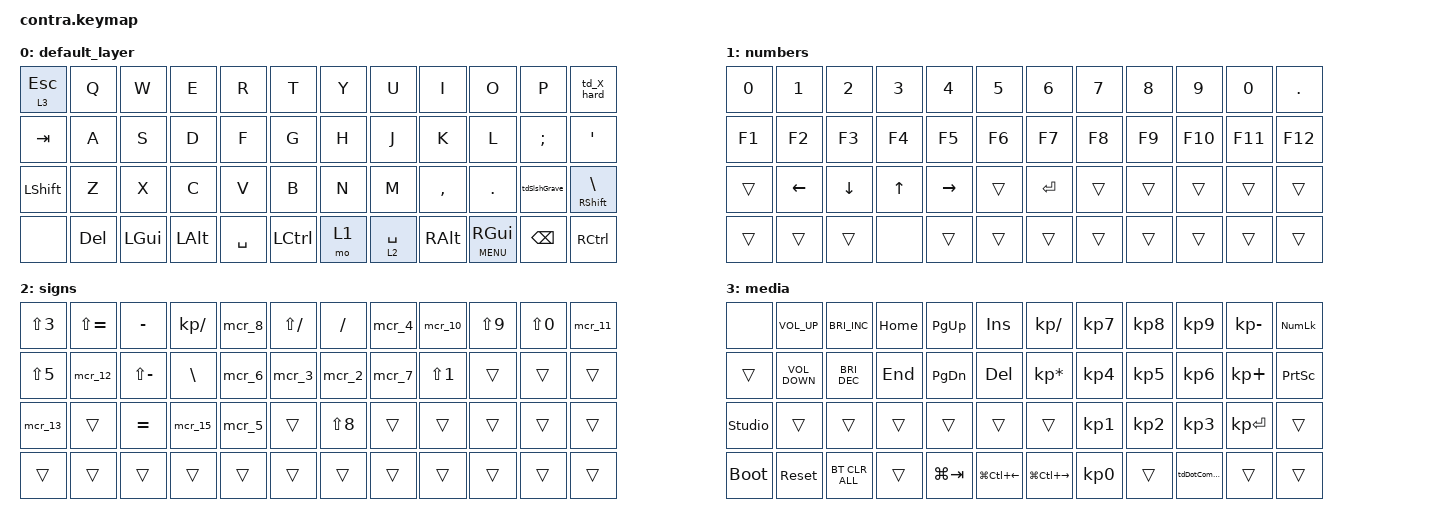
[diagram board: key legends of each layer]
/*
 * Copyright (c) 2021 The ZMK Contributors
 *
 * SPDX-License-Identifier: MIT
 */

#include <behaviors.dtsi>
#include <dt-bindings/zmk/bt.h>
#include <dt-bindings/zmk/keys.h>

#define DEFAULT	0
#define NMBRS	1
#define SIGNS	2
#define MEDIA	3

/ {
    macros {
        mcr_0: macros_0 {
            label = "MACROS_0";
            compatible = "zmk,behavior-macro";
            #binding-cells = <0>;
            bindings = <&macro_tap>, <&kp LC(N3)>, <&macro_tap>, <&kp FSLH>;
        };

        mcr_1: macros_1 {
            label = "MACROS_1";
            compatible = "zmk,behavior-macro";
            #binding-cells = <0>;
            bindings = <&macro_tap>, <&kp LC(N3)>, <&macro_tap>, <&kp LS(FSLH)>;
        };

        mcr_2: macros_2 {
            label = "MACROS_2";
            compatible = "zmk,behavior-macro";
            #binding-cells = <0>;
            bindings = <&macro_tap>, <&kp LC(N3)>, <&macro_tap>, <&kp LS(N6)>;
        };

        mcr_3: macros_3 {
            label = "MACROS_3";
            compatible = "zmk,behavior-macro";
            #binding-cells = <0>;
            bindings = <&macro_tap>, <&kp LC(N3)>, <&macro_tap>, <&kp LS(N4)>;
        };

        mcr_4: macros_4 {
            label = "MACROS_4";
            compatible = "zmk,behavior-macro";
            #binding-cells = <0>;
            bindings = <&macro_tap>, <&kp LC(N1)>, <&macro_tap>, <&kp LS(N2)>;
        };

        mcr_5: macros_5 {
            label = "MACROS_5";
            compatible = "zmk,behavior-macro";
            #binding-cells = <0>;
            bindings = <&macro_tap>, <&kp LC(N3)>, <&macro_tap>, <&kp LS(N2)>;
        };

        mcr_6: macros_6 {
            label = "MACROS_6";
            compatible = "zmk,behavior-macro";
            #binding-cells = <0>;
            bindings = <&macro_tap>, <&kp LC(N1)>, <&macro_tap>, <&kp SQT>;
        };

        mcr_7: macros_7 {
            label = "MACROS_7";
            compatible = "zmk,behavior-macro";
            #binding-cells = <0>;
            bindings =
                <&macro_tap>,
                <&kp RC(N1)>,
                <&macro_tap>,
                <&kp LS(GRAVE)>;
        };

        mcr_8: macros_8 {
            label = "MACROS_8";
            compatible = "zmk,behavior-macro";
            #binding-cells = <0>;
            bindings = <&macro_tap>, <&kp LC(N1)>, <&macro_tap>, <&kp LS(SQT)>;
        };

        mcr_9: macros_9 {
            label = "MACROS_9";
            compatible = "zmk,behavior-macro";
            #binding-cells = <0>;
            bindings = <&macro_tap>, <&kp LC(N1)>, <&macro_tap>, <&kp GRAVE>;
        };

        mcr_10: macros_10 {
            label = "MACROS_10";
            compatible = "zmk,behavior-macro";
            #binding-cells = <0>;
            bindings = <&macro_tap>, <&kp LC(N3)>, <&macro_tap>, <&kp LS(N7)>;
        };

        mcr_11: macros_11 {
            label = "MACROS_11";
            compatible = "zmk,behavior-macro";
            #binding-cells = <0>;
            bindings = <&macro_tap>, <&kp LC(N1)>, <&macro_tap>, <&kp LS(N6)>;
        };

        mcr_12: macros_12 {
            label = "MACROS_12";
            compatible = "zmk,behavior-macro";
            #binding-cells = <0>;
            bindings = <&macro_tap>, <&kp LC(N1)>, <&macro_tap>, <&kp LS(N7)>;
        };

        mcr_13: macros_13 {
            label = "MACROS_13";
            compatible = "zmk,behavior-macro";
            #binding-cells = <0>;
            bindings = <&macro_tap>, <&kp LC(N1)>, <&macro_tap>, <&kp LS(N4)>;
        };

        mcr_15: macros_15 {
            label = "MACROS_15";
            compatible = "zmk,behavior-macro";
            #binding-cells = <0>;
            bindings = <&macro_tap>, <&kp LC(N1)>, <&macro_tap>, <&kp LS(BSLH)>;
        };
    };
};

/ {
    combos {
        compatible = "zmk,combos";

        combo_caps {
            timeout-ms = <50>;
            key-positions = <24 35>;
            bindings = <&kp CAPSLOCK>;
        };

        /*
 		combo_bspc {
            timeout-ms = <30>;
            key-positions = <3 4>;
            bindings = <&kp BSPC>;
        };*/
    };
};

/ {
    behaviors {
        tdSlshGrave: tap_dance_0 {
            compatible = "zmk,behavior-tap-dance";
            label = "TAP_DANCE_0";
            #binding-cells = <0>;
            bindings = <&kp FSLH>, <&kp GRAVE>;
        };

        tdDotComma: tap_dance_1 {
            compatible = "zmk,behavior-tap-dance";
            label = "TAP_DANCE_1";
            #binding-cells = <0>;
            bindings = <&kp KP_DOT>, <&kp COMMA>;
        };

        td_X_hard: td_X_hard {
            compatible = "zmk,behavior-tap-dance";
            label = "TD_X_HARD";
            #binding-cells = <0>;
            bindings = <&kp LEFT_BRACKET>, <&kp RIGHT_BRACKET>;
        };
    };
};

/ {
    keymap {
        compatible = "zmk,keymap";

        default_layer {
            bindings = <
&lt 3 ESC  &kp Q    &kp W     &kp E     &kp R      &kp T      &kp Y  &kp U        &kp I      &kp O                 &kp P         &td_X_hard
&kp TAB    &kp A    &kp S     &kp D     &kp F      &kp G      &kp H  &kp J        &kp K      &kp L                 &kp SEMI      &kp SQT
&kp LSHFT  &kp Z    &kp X     &kp C     &kp V      &kp B      &kp N  &kp M        &kp COMMA  &kp DOT               &tdSlshGrave  &mt RSHIFT BACKSLASH
&none      &kp DEL  &kp LGUI  &kp LALT  &kp SPACE  &kp LCTRL  &mo 1  &lt 2 SPACE  &kp RALT   &mt C_MENU RIGHT_GUI  &kp BSPC      &kp RCTRL
            >;
        };

        numbers {
            bindings = <
&kp N0  &kp N1    &kp N2    &kp N3  &kp N4     &kp N5  &kp N6     &kp N7  &kp N8  &kp N9   &kp N0   &kp DOT
&kp F1  &kp F2    &kp F3    &kp F4  &kp F5     &kp F6  &kp F7     &kp F8  &kp F9  &kp F10  &kp F11  &kp F12
&trans  &kp LEFT  &kp DOWN  &kp UP  &kp RIGHT  &trans  &kp ENTER  &trans  &trans  &trans   &trans   &trans
&trans  &trans    &trans    &none   &trans     &trans  &trans     &trans  &trans  &trans   &trans   &trans
            >;
        };

        signs {
            bindings = <
&kp LS(N3)  &kp LS(EQUAL)  &kp MINUS      &kp KP_SLASH  &mcr_8  &kp LS(SLASH)  &kp SLASH   &mcr_4  &mcr_10     &kp LS(N9)  &kp LS(N0)  &mcr_11
&kp LS(N5)  &mcr_12        &kp LS(MINUS)  &kp BSLH      &mcr_6  &mcr_3         &mcr_2      &mcr_7  &kp LS(N1)  &trans      &trans      &trans
&mcr_13     &trans         &kp EQUAL      &mcr_15       &mcr_5  &trans         &kp LS(N8)  &trans  &trans      &trans      &trans      &trans
&trans      &trans         &trans         &trans        &trans  &trans         &trans      &trans  &trans      &trans      &trans      &trans
            >;
        };

        media {
            bindings = <
&none           &kp C_VOLUME_UP    &kp C_BRIGHTNESS_INC  &kp HOME  &kp PAGE_UP    &kp INS                 &kp KP_SLASH       &kp KP_N7  &kp KP_N8  &kp KP_N9    &kp KP_MINUS  &kp KP_NUM
&trans          &kp C_VOLUME_DOWN  &kp C_BRIGHTNESS_DEC  &kp END   &kp PAGE_DOWN  &kp DEL                 &kp KP_MULTIPLY    &kp KP_N4  &kp KP_N5  &kp KP_N6    &kp KP_PLUS   &kp PRINTSCREEN
&studio_unlock  &trans             &trans                &trans    &trans         &trans                  &trans             &kp KP_N1  &kp KP_N2  &kp KP_N3    &kp KP_ENTER  &trans
&bootloader     &sys_reset         &bt BT_CLR_ALL        &trans    &kp LG(TAB)    &kp LG(LC(LEFT_ARROW))  &kp LG(LC(RIGHT))  &kp KP_N0  &trans     &tdDotComma  &trans        &trans
            >;
        };
    };
};
